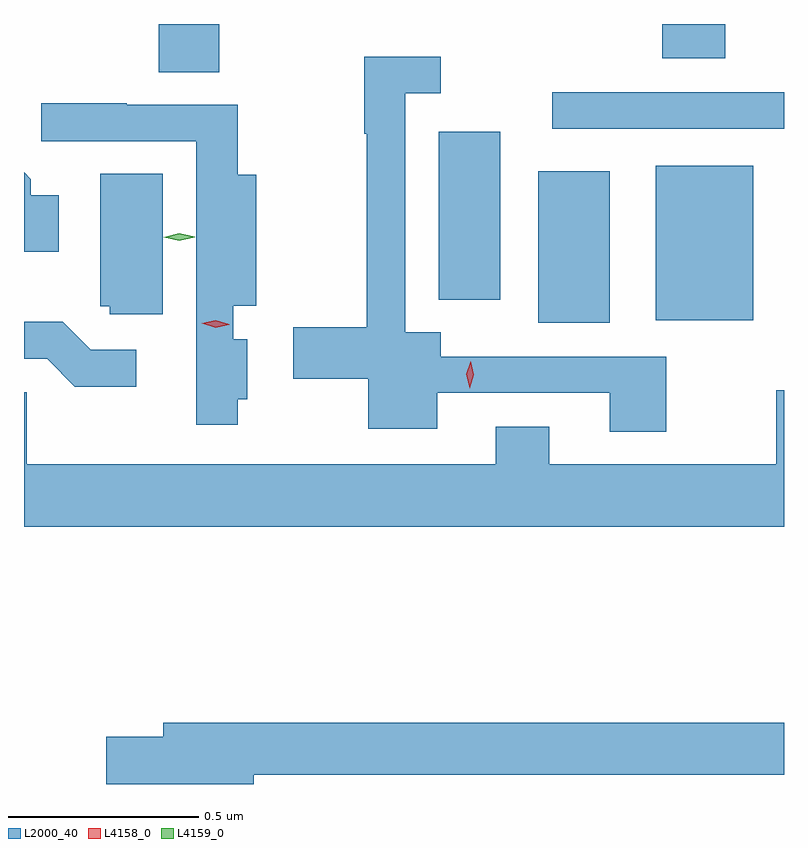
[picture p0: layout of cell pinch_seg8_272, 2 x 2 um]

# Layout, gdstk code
import gdstk
lib = gdstk.Library(unit=1e-6, precision=1e-09)
def R(c, l, rs):  # rectangles x0, y0, x1, y1
    for r in rs: c.add(gdstk.rectangle(r[:2], r[2:], *l))
def P(c, l, *ps):  # polygons
    for p in ps: c.add(gdstk.Polygon(p, *l))
L2000_40 = (2000, 40)
L4158_0 = (4158, 0)
L4159_0 = (4159, 0)

pinch_seg8_272 = lib.new_cell('pinch_seg8_272')
R(pinch_seg8_272, L2000_40, [(503.024,1159.661,503.212,1160.059), (503.333,1159.667,503.59,1160.074), (502.763,1159.721,502.924,1160.164), (503.061,1160.172,503.671,1160.268), (502.025,1160.32,502.185,1160.447), (503.351,1160.357,503.516,1160.447)])
P(pinch_seg8_272, L2000_40, [(503.361,1159.572),(502.768,1159.572),(502.768,1159.636),(502.674,1159.636),(502.674,1160.265),(502.768,1160.265),(502.768,1160.361),(502.566,1160.361),(502.566,1160.158),(502.573,1160.158),(502.573,1159.649),(502.38,1159.649),(502.38,1159.514),(502.577,1159.514),(502.577,1159.382),(502.759,1159.382),(502.759,1159.476),(503.213,1159.476),(503.213,1159.374),(503.361,1159.374)],
  [(502.234,1159.46),(502.258,1159.46),(502.258,1159.618),(502.222,1159.618),(502.222,1159.706),(502.282,1159.706),(502.282,1160.05),(502.234,1160.05),(502.234,1160.235),(501.941,1160.235),(501.941,1160.238),(501.717,1160.238),(501.717,1160.139),(502.124,1160.139),(502.124,1159.392),(502.234,1159.392)],
  [(501.763,1159.996),(501.689,1159.996),(501.689,1160.039),(501.671,1160.057),(501.671,1159.848),(501.763,1159.848)],
  [(502.036,1160.053),(501.872,1160.053),(501.872,1159.704),(501.897,1159.704),(501.897,1159.683),(502.036,1159.683)],
  [(501.967,1159.59),(501.846,1159.59),(501.773,1159.663),(501.671,1159.663),(501.671,1159.566),(501.732,1159.566),(501.805,1159.493),(501.967,1159.493)],
  [(503.671,1159.483),(503.65,1159.483),(503.65,1159.288),(503.053,1159.288),(503.053,1159.387),(502.913,1159.387),(502.913,1159.288),(501.678,1159.288),(501.678,1159.478),(501.671,1159.478),(501.671,1159.124),(503.671,1159.124)],
  [(502.276,1158.472),(503.671,1158.472),(503.671,1158.608),(502.037,1158.608),(502.037,1158.572),(501.888,1158.572),(501.888,1158.447),(502.276,1158.447)])
P(pinch_seg8_272, L4158_0, [(502.844,1159.489),(502.844,1159.489),(502.835,1159.525),(502.846,1159.56),(502.846,1159.56),(502.846,1159.56),(502.855,1159.524),(502.844,1159.489)],
  [(502.175,1159.648),(502.139,1159.659),(502.139,1159.659),(502.139,1159.659),(502.176,1159.668),(502.211,1159.657),(502.211,1159.656),(502.211,1159.656)])
P(pinch_seg8_272, L4159_0, [(502.08,1159.876),(502.039,1159.886),(502.039,1159.886),(502.039,1159.886),(502.08,1159.896),(502.12,1159.887),(502.12,1159.887),(502.12,1159.886)])

lib.write_gds('pinch_seg8_272.gds')
